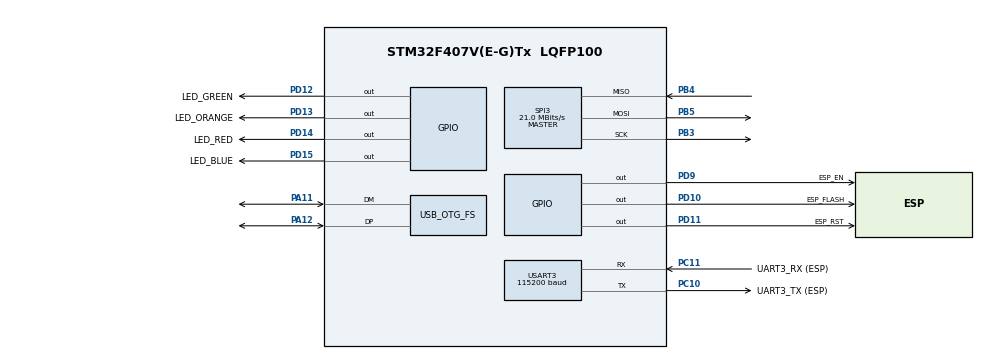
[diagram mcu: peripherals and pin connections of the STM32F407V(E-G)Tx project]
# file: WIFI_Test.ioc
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Mcu.Family=STM32F4
Mcu.Name=STM32F407V(E-G)Tx
Mcu.Package=LQFP100
NVIC.OTG_FS_IRQn=true\:0\:0\:true\:false\:true\:false\:true
NVIC.PriorityGroup=NVIC_PRIORITYGROUP_4
PA11.Mode=Device_Only
PA11.Signal=USB_OTG_FS_DM
PA12.Mode=Device_Only
PA12.Signal=USB_OTG_FS_DP
PB3.Mode=Full_Duplex_Master
PB3.Signal=SPI3_SCK
PB4.Mode=Full_Duplex_Master
PB4.Signal=SPI3_MISO
PB5.Mode=Full_Duplex_Master
PB5.Signal=SPI3_MOSI
PC10.GPIO_Label=UART3_TX (ESP)
PC10.Mode=Asynchronous
PC10.Signal=USART3_TX
PC11.GPIO_Label=UART3_RX (ESP)
PC11.Mode=Asynchronous
PC11.Signal=USART3_RX
PD10.GPIO_Label=ESP_FLASH
PD10.PinState=GPIO_PIN_SET
PD10.Signal=GPIO_Output
PD11.GPIO_Label=ESP_RST
PD11.GPIO_PuPd=GPIO_NOPULL
PD11.PinState=GPIO_PIN_SET
PD11.Signal=GPIO_Output
PD12.GPIO_Label=LED_GREEN
PD12.Signal=GPIO_Output
PD13.GPIO_Label=LED_ORANGE
PD13.Signal=GPIO_Output
PD14.GPIO_Label=LED_RED
PD14.Signal=GPIO_Output
PD15.GPIO_Label=LED_BLUE
PD15.Signal=GPIO_Output
PD9.GPIO_Label=ESP_EN
PD9.PinState=GPIO_PIN_SET
PD9.Signal=GPIO_Output
PH0-OSC_IN.Mode=HSE-External-Oscillator
PH0-OSC_IN.Signal=RCC_OSC_IN
PH1-OSC_OUT.Mode=HSE-External-Oscillator
PH1-OSC_OUT.Signal=RCC_OSC_OUT
ProjectManager.HeapSize=0x200
ProjectManager.StackSize=0x800
ProjectManager.TargetToolchain=SW4STM32
RCC.48MHZClocksFreq_Value=48000000
RCC.AHBFreq_Value=168000000
RCC.APB1CLKDivider=RCC_HCLK_DIV4
RCC.APB1Freq_Value=42000000
RCC.APB1TimFreq_Value=84000000
RCC.APB2CLKDivider=RCC_HCLK_DIV2
RCC.APB2Freq_Value=84000000
RCC.APB2TimFreq_Value=168000000
RCC.CortexFreq_Value=168000000
RCC.HCLKFreq_Value=168000000
RCC.HSE_VALUE=8000000
RCC.HSI_VALUE=16000000
RCC.LSE_VALUE=32768
RCC.PLLM=8
RCC.PLLN=336
RCC.PLLQ=7
RCC.SYSCLKFreq_VALUE=168000000
RCC.SYSCLKSource=RCC_SYSCLKSOURCE_PLLCLK
RCC.VCOOutputFreq_Value=336000000
SPI3.CalculateBaudRate=21.0 MBits/s
SPI3.Direction=SPI_DIRECTION_2LINES
SPI3.Mode=SPI_MODE_MASTER
SPI3.VirtualType=VM_MASTER
USART3.BaudRate=115200
USART3.VirtualMode=VM_ASYNC
USB_DEVICE.CLASS_NAME_FS=CDC
USB_DEVICE.VirtualMode-CDC_FS=Cdc
USB_DEVICE.VirtualModeFS=Cdc_FS
USB_OTG_FS.VirtualMode=Device_Only
VP_USB_DEVICE_VS_USB_DEVICE_CDC_FS.Mode=CDC_FS
board=custom

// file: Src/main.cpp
/* USER CODE BEGIN Header */
/**
  ******************************************************************************
  * @file           : main.c
  * @brief          : Main program body
  ******************************************************************************
  * @attention
  *
  * <h2><center>&copy; Copyright (c) 2019 STMicroelectronics.
  * All rights reserved.</center></h2>
  *
  * This software component is licensed by ST under BSD 3-Clause license,
  * the "License"; You may not use this file except in compliance with the
  * License. You may obtain a copy of the License at:
  *                        opensource.org/licenses/BSD-3-Clause
  *
  ******************************************************************************
  */
/* USER CODE END Header */

#include "main.h"
#include "usb_device.h"

/* USER CODE BEGIN Includes */
#include "ff.h"
#include "rapidjson/document.h"

#include "WiFi.hpp"
#include "GPIO_Pin.hpp"
#include "USB_Serial.hpp"
#include "HTTP.hpp"
/* USER CODE END Includes */

SPI_HandleTypeDef hspi3;

UART_HandleTypeDef huart3;

/* USER CODE BEGIN PV */
static FATFS FatFs;
FIL configFile;
FRESULT fresult;

WiFi wifi;

GPIO_Pin diodeBlue(GPIOD, GPIO_PIN_15);
GPIO_Pin diodeRed(GPIOD, GPIO_PIN_14);
GPIO_Pin diodeOrange(GPIOD, GPIO_PIN_13);
GPIO_Pin diodeGreen(GPIOD, GPIO_PIN_12);
GPIO_Pin espReset(GPIOD, GPIO_PIN_11);

std::string serverType;
std::string serverAddress;
uint16_t serverPort = 0;
/* USER CODE END PV */

void SystemClock_Config();

static void MX_GPIO_Init();

static void MX_USART3_UART_Init();

static void MX_SPI3_Init();

/* USER CODE BEGIN PFP */

void clearArray(char *cString, const uint16_t &size) {
    for (uint16_t i = 0; i < size; i++) {
        cString[i] = '\0';
    }
}

bool configure() {
    //Montowanie partycji
    diodeRed.on();
    fresult = f_mount(&FatFs, "", 0);
    if (fresult != FR_OK) { return false; }
    diodeRed.off();

    UINT bytesRead;
    char buffer[256];
    std::string result;

    //Otwieranie pliku
    diodeOrange.on();
    fresult = f_open(&configFile, "CONFIG.INI", FA_OPEN_EXISTING | FA_READ);
    if (fresult != FR_OK) { return false; }
    diodeOrange.off();

    //Odczytywanie pliku
    do {
        clearArray(buffer, 256);
        f_read(&configFile, buffer, 256, &bytesRead);
        result.append(std::string(buffer));
    } while (bytesRead >= 256);
    f_close(&configFile);

    //Parsowanie danych
    diodeRed.on();
    rapidjson::Document configuration;
    configuration.Parse(result.c_str());
    diodeRed.off();

    //Ustawienie łącza szeregowego
    diodeBlue.on();
    USB_Serial::setEnabled(configuration["USB_SERIAL"].GetBool());
    diodeBlue.off();

    //Wgranie konfiguracji sieci
    diodeGreen.on();
    wifi.setConfiguredNetworks(configuration);
    serverType = configuration["SERVER"]["TYPE"].GetString();
    serverAddress = configuration["SERVER"]["ADDRESS"].GetString();
    serverPort = (uint16_t) configuration["SERVER"]["PORT"].GetInt();
    diodeGreen.off();

    return true;
}

/* USER CODE END PFP */

int main() {

    /* MCU Configuration--------------------------------------------------------*/

    /* Reset of all peripherals, Initializes the Flash interface and the Systick. */
    HAL_Init();

    /* Configure the system clock */
    SystemClock_Config();

    /* Initialize all configured peripherals */
    MX_GPIO_Init();
    MX_USART3_UART_Init();
    MX_USB_DEVICE_Init();
    MX_SPI3_Init();
    /* USER CODE BEGIN 2 */
    {
        diodeOrange.on();

        espReset.off();
        HAL_Delay(1500);
        espReset.on();
        HAL_Delay(1500);

        diodeOrange.off();

        if (configure()) {
            diodeBlue.on();

            //Inicjuje połączenie z ESP-01 i łączy z siecią
            if (wifi.init(huart3, true)) { diodeGreen.on(); }
            else { diodeRed.on(); }

            //wifi.checkVersion();    //Wyświetla wersję oprogramowania na ESP
            diodeBlue.off();

            wifi.connect(serverType, serverAddress, serverPort);
            std::string respData;
            wifi.sendHttpRequest("GET", "/test", respData);

            HTTP::Response resp = HTTP::parseResponse(respData);
            USB_Serial::transmit(resp.toString() + "\r\n");
        }
    }
    /* USER CODE END 2 */

    /* Infinite loop */
    /* USER CODE BEGIN WHILE */
    while (true) {
        /* USER CODE END WHILE */

    }
}

void SystemClock_Config() {
    RCC_OscInitTypeDef RCC_OscInitStruct = {0};
    RCC_ClkInitTypeDef RCC_ClkInitStruct = {0};

    /** Configure the main internal regulator output voltage
    */
    __HAL_RCC_PWR_CLK_ENABLE();
    __HAL_PWR_VOLTAGESCALING_CONFIG(PWR_REGULATOR_VOLTAGE_SCALE1);
    /** Initializes the CPU, AHB and APB busses clocks
    */
    RCC_OscInitStruct.OscillatorType = RCC_OSCILLATORTYPE_HSE;
    RCC_OscInitStruct.HSEState = RCC_HSE_ON;
    RCC_OscInitStruct.PLL.PLLState = RCC_PLL_ON;
    RCC_OscInitStruct.PLL.PLLSource = RCC_PLLSOURCE_HSE;
    RCC_OscInitStruct.PLL.PLLM = 8;
    RCC_OscInitStruct.PLL.PLLN = 336;
    RCC_OscInitStruct.PLL.PLLP = RCC_PLLP_DIV2;
    RCC_OscInitStruct.PLL.PLLQ = 7;
    if (HAL_RCC_OscConfig(&RCC_OscInitStruct) != HAL_OK) {
        Error_Handler();
    }
    /** Initializes the CPU, AHB and APB busses clocks
    */
    RCC_ClkInitStruct.ClockType = RCC_CLOCKTYPE_HCLK | RCC_CLOCKTYPE_SYSCLK
                                  | RCC_CLOCKTYPE_PCLK1 | RCC_CLOCKTYPE_PCLK2;
    RCC_ClkInitStruct.SYSCLKSource = RCC_SYSCLKSOURCE_PLLCLK;
    RCC_ClkInitStruct.AHBCLKDivider = RCC_SYSCLK_DIV1;
    RCC_ClkInitStruct.APB1CLKDivider = RCC_HCLK_DIV4;
    RCC_ClkInitStruct.APB2CLKDivider = RCC_HCLK_DIV2;

    if (HAL_RCC_ClockConfig(&RCC_ClkInitStruct, FLASH_LATENCY_5) != HAL_OK) {
        Error_Handler();
    }
}

static void MX_SPI3_Init() {

    /* SPI3 parameter configuration*/
    hspi3.Instance = SPI3;
    hspi3.Init.Mode = SPI_MODE_MASTER;
    hspi3.Init.Direction = SPI_DIRECTION_2LINES;
    hspi3.Init.DataSize = SPI_DATASIZE_8BIT;
    hspi3.Init.CLKPolarity = SPI_POLARITY_LOW;
    hspi3.Init.CLKPhase = SPI_PHASE_1EDGE;
    hspi3.Init.NSS = SPI_NSS_SOFT;
    hspi3.Init.BaudRatePrescaler = SPI_BAUDRATEPRESCALER_16;
    hspi3.Init.FirstBit = SPI_FIRSTBIT_MSB;
    hspi3.Init.TIMode = SPI_TIMODE_DISABLE;
    hspi3.Init.CRCCalculation = SPI_CRCCALCULATION_DISABLE;
    hspi3.Init.CRCPolynomial = 10;
    if (HAL_SPI_Init(&hspi3) != HAL_OK) {
        Error_Handler();
    }

}

static void MX_USART3_UART_Init() {

    huart3.Instance = USART3;
    huart3.Init.BaudRate = 115200;
    huart3.Init.WordLength = UART_WORDLENGTH_8B;
    huart3.Init.StopBits = UART_STOPBITS_1;
    huart3.Init.Parity = UART_PARITY_NONE;
    huart3.Init.Mode = UART_MODE_TX_RX;
    huart3.Init.HwFlowCtl = UART_HWCONTROL_NONE;
    huart3.Init.OverSampling = UART_OVERSAMPLING_16;
    if (HAL_UART_Init(&huart3) != HAL_OK) {
        Error_Handler();
    }

}

static void MX_GPIO_Init() {
    GPIO_InitTypeDef GPIO_InitStruct = {0};

    /* GPIO Ports Clock Enable */
    __HAL_RCC_GPIOH_CLK_ENABLE();
    __HAL_RCC_GPIOD_CLK_ENABLE();
    __HAL_RCC_GPIOA_CLK_ENABLE();
    __HAL_RCC_GPIOC_CLK_ENABLE();
    __HAL_RCC_GPIOB_CLK_ENABLE();

    /*Configure GPIO pin Output Level */
    HAL_GPIO_WritePin(GPIOD, ESP_EN_Pin | ESP_FLASH_Pin | ESP_RST_Pin, GPIO_PIN_SET);

    /*Configure GPIO pin Output Level */
    HAL_GPIO_WritePin(GPIOD, LED_GREEN_Pin | LED_ORANGE_Pin | LED_RED_Pin | LED_BLUE_Pin, GPIO_PIN_RESET);

    /*Configure GPIO pins : ESP_EN_Pin ESP_FLASH_Pin ESP_RST_Pin LED_GREEN_Pin
                             LED_ORANGE_Pin LED_RED_Pin LED_BLUE_Pin */
    GPIO_InitStruct.Pin = ESP_EN_Pin | ESP_FLASH_Pin | ESP_RST_Pin | LED_GREEN_Pin
                          | LED_ORANGE_Pin | LED_RED_Pin | LED_BLUE_Pin;
    GPIO_InitStruct.Mode = GPIO_MODE_OUTPUT_PP;
    GPIO_InitStruct.Pull = GPIO_NOPULL;
    GPIO_InitStruct.Speed = GPIO_SPEED_FREQ_LOW;
    HAL_GPIO_Init(GPIOD, &GPIO_InitStruct);

}

void Error_Handler(void) {
}

/************************ (C) COPYRIGHT STMicroelectronics *****END OF FILE****/
